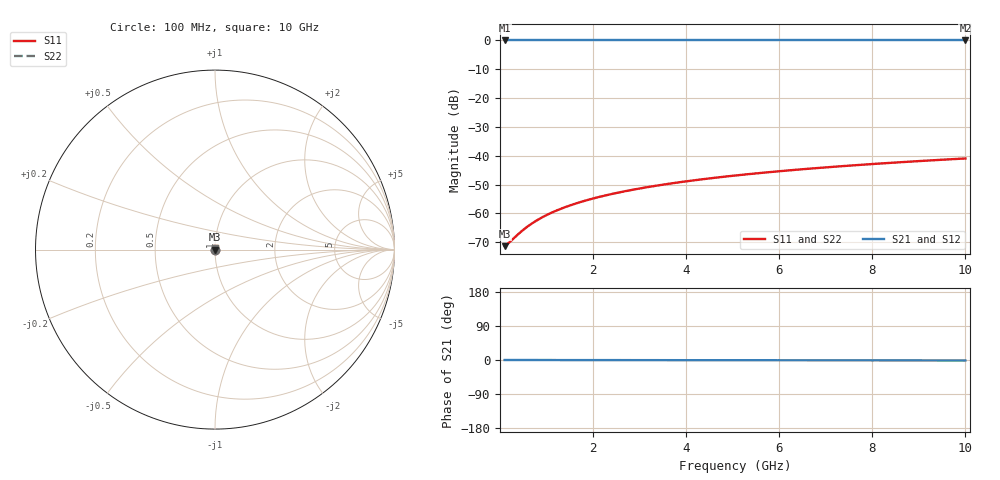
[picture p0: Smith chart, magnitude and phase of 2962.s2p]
# Hz S RI R 50.00
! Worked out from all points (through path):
!   100 points, 100 MHz to 10 GHz, reference 50 ohm
!   highest |S21| = 0.00 dB at 100 MHz (marker M1); lowest = 0.0 dB at 10 GHz (marker M2)
!   lowest |S11| = -71.4 dB at 100 MHz (marker M3), VSWR 1.00, Z = 50 + j0.00894 ohm
!   |S11| at or under -10 dB: start of sweep to end of sweep
!   |S22| runs from -71.4 to -41.0 dB; largest |S21 - S12| = 1e-15
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1e8  0.000254 8.94e-05  0.9997 -0.000209  0.9997 -0.000209  0.000254 8.94e-05
2e8  0.000256 0.000179  0.9997 -0.000418  0.9997 -0.000418  0.000256 0.000179
4e8  0.000258 0.000358  0.9997 -0.000836  0.9997 -0.000836  0.000258 0.000358
5e8  0.000259 0.000447  0.9997 -0.00104  0.9997 -0.00104  0.000259 0.000447
6e8  0.00026 0.000536  0.9997 -0.00125  0.9997 -0.00125  0.00026 0.000536
7e8  0.000261 0.000626  0.9997 -0.00146  0.9997 -0.00146  0.000261 0.000626
8e8  0.000262 0.000715  0.9997 -0.00167  0.9997 -0.00167  0.000262 0.000715
1e9  0.000264 0.000894  0.9997 -0.00209  0.9997 -0.00209  0.000264 0.000894
1.2e9  0.000265 0.00107  0.9997 -0.00251  0.9997 -0.00251  0.000265 0.00107
1.5e9  0.000268 0.00134  0.9997 -0.00313  0.9997 -0.00313  0.000268 0.00134
1.8e9  0.000271 0.00161  0.9997 -0.00376  0.9997 -0.00376  0.000271 0.00161
2.1e9  0.000274 0.00188  0.9997 -0.00439  0.9997 -0.00439  0.000274 0.00188
2.5e9  0.000279 0.00224  0.9997 -0.00522  0.9997 -0.00522  0.000279 0.00224
2.9e9  0.000284 0.00259  0.9997 -0.00606  0.9997 -0.00606  0.000284 0.00259
3.4e9  0.000291 0.00304  0.9997 -0.0071  0.9997 -0.0071  0.000291 0.00304
4.2e9  0.000304 0.00376  0.9997 -0.00878  0.9997 -0.00878  0.000304 0.00376
5.1e9  0.000322 0.00456  0.9997 -0.0107  0.9997 -0.0107  0.000322 0.00456
5.9e9  0.00034 0.00528  0.9996 -0.0123  0.9996 -0.0123  0.00034 0.00528
6.7e9  0.00036 0.00599  0.9996 -0.014  0.9996 -0.014  0.00036 0.00599
7.5e9  0.000383 0.00671  0.9996 -0.0157  0.9996 -0.0157  0.000383 0.00671
8.4e9  0.000412 0.00751  0.9995 -0.0176  0.9995 -0.0176  0.000412 0.00751
1e10  0.000471 0.00895  0.9994 -0.0209  0.9994 -0.0209  0.000471 0.00895
